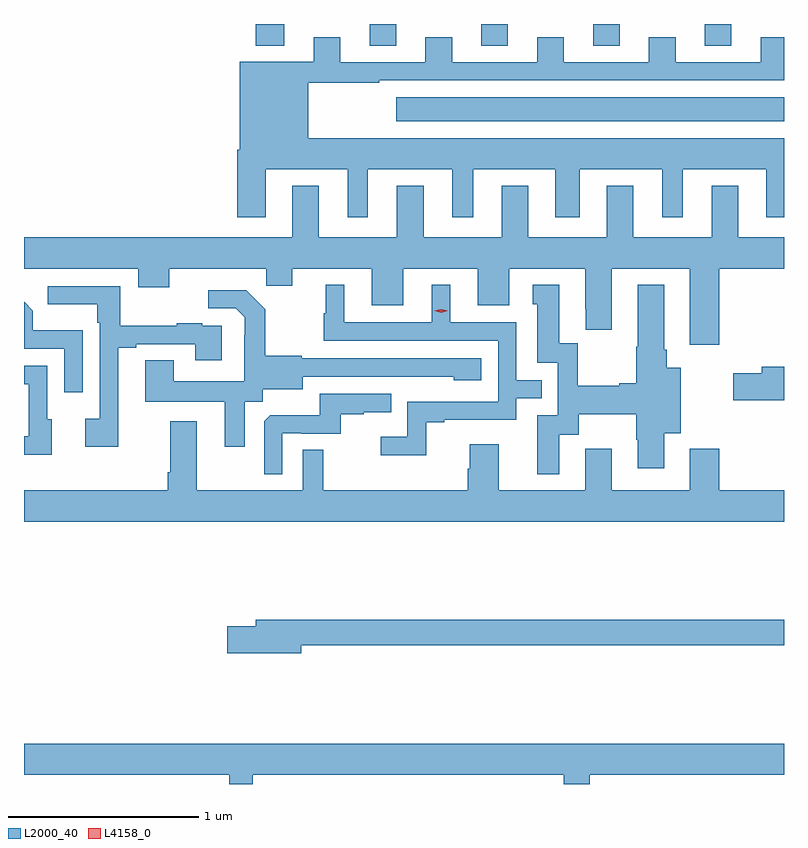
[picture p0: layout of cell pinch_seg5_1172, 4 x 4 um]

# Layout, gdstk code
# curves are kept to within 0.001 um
import gdstk
lib = gdstk.Library(unit=1e-6, precision=1e-09)
def R(c, l, rs):  # rectangles x0, y0, x1, y1
    for r in rs: c.add(gdstk.rectangle(r[:2], r[2:], *l))
def A(c, l, x, y, w, h, nx, ny, dx, dy):  # array of equal rectangles
    R(c, l, [(x+i*dx, y+j*dy, x+i*dx+w, y+j*dy+h) for i in range(nx) for j in range(ny)])
def P(c, l, *ps):  # polygons
    for p in ps: c.add(gdstk.Polygon(p, *l))
L2000_40 = (2000, 40)
L4158_0 = (4158, 0)

pinch_seg5_1172 = lib.new_cell('pinch_seg5_1172')
A(pinch_seg5_1172, L2000_40, 544.595, 877.912, 0.14, 0.115, 4, 1, 0.588, 0)
R(pinch_seg5_1172, L2000_40, [(544.734,877.514,546.776,877.642), (543.995,877.913,544.147,878.027)])
P(pinch_seg5_1172, L2000_40, [(544.048,877.262),(544.481,877.262),(544.481,877.011),(544.585,877.011),(544.585,877.262),(545.03,877.262),(545.03,877.011),(545.14,877.011),(545.14,877.262),(545.573,877.262),(545.573,877.011),(545.701,877.011),(545.701,877.262),(546.134,877.262),(546.134,877.011),(546.244,877.011),(546.244,877.262),(546.683,877.262),(546.683,877.011),(546.776,877.011),(546.776,877.426),(544.273,877.426),(544.273,877.719),(544.646,877.719),(544.646,877.731),(546.776,877.731),(546.776,877.957),(546.653,877.957),(546.653,877.827),(546.205,877.827),(546.205,877.957),(546.065,877.957),(546.065,877.827),(545.617,877.827),(545.617,877.957),(545.477,877.957),(545.477,877.827),(545.029,877.827),(545.029,877.957),(544.889,877.957),(544.889,877.827),(544.441,877.827),(544.441,877.957),(544.301,877.957),(544.301,877.828),(543.911,877.828),(543.911,877.366),(543.899,877.366),(543.899,877.011),(544.048,877.011)],
  [(546.434,876.74),(546.776,876.74),(546.776,876.904),(546.535,876.904),(546.535,877.177),(546.395,877.177),(546.395,876.904),(545.983,876.904),(545.983,877.177),(545.843,877.177),(545.843,876.904),(545.431,876.904),(545.431,877.177),(545.291,877.177),(545.291,876.904),(544.879,876.904),(544.879,877.177),(544.739,877.177),(544.739,876.904),(544.327,876.904),(544.327,877.177),(544.187,877.177),(544.187,876.904),(542.776,876.904),(542.776,876.74),(543.377,876.74),(543.377,876.641),(543.541,876.641),(543.541,876.74),(544.051,876.74),(544.051,876.65),(544.189,876.65),(544.189,876.74),(544.607,876.74),(544.607,876.546),(544.771,876.546),(544.771,876.74),(545.165,876.74),(545.165,876.546),(545.329,876.546),(545.329,876.74),(545.729,876.74),(545.729,876.529),(545.732,876.529),(545.732,876.417),(545.869,876.417),(545.869,876.74),(546.281,876.74),(546.281,876.339),(546.434,876.339)],
  [(545.593,875.866),(545.695,875.866),(545.695,875.972),(545.998,875.972),(545.998,875.838),(546.005,875.838),(546.005,875.688),(546.145,875.688),(546.145,875.873),(546.232,875.873),(546.232,876.217),(546.158,876.217),(546.158,876.313),(546.145,876.313),(546.145,876.655),(546.005,876.655),(546.005,876.329),(545.998,876.329),(545.998,876.137),(545.909,876.137),(545.909,876.124),(545.691,876.124),(545.691,876.347),(545.593,876.347),(545.593,876.655),(545.453,876.655),(545.453,876.552),(545.477,876.552),(545.477,876.243),(545.586,876.243),(545.586,875.967),(545.477,875.967),(545.477,875.658),(545.593,875.658)],
  [(544.893,875.931),(544.987,875.931),(544.987,875.943),(545.367,875.943),(545.367,876.057),(545.501,876.057),(545.501,876.153),(545.367,876.153),(545.367,876.456),(545.02,876.456),(545.02,876.655),(544.922,876.655),(544.922,876.456),(544.462,876.456),(544.462,876.655),(544.364,876.655),(544.364,876.504),(544.353,876.504),(544.353,876.36),(545.271,876.36),(545.271,876.039),(544.794,876.039),(544.794,875.854),(544.653,875.854),(544.653,875.756),(544.893,875.756)],
  [(543.271,876.324),(543.367,876.324),(543.367,876.342),(543.677,876.342),(543.677,876.258),(543.817,876.258),(543.817,876.438),(543.713,876.438),(543.713,876.451),(543.581,876.451),(543.581,876.44),(543.283,876.44),(543.283,876.648),(542.901,876.648),(542.901,876.551),(543.162,876.551),(543.162,876.455),(543.174,876.455),(543.174,875.95),(543.099,875.95),(543.099,875.802),(543.271,875.802)],
  [(543.937,876.04),(544.032,876.04),(544.032,876.104),(544.243,876.104),(544.243,876.171),(545.037,876.17),(545.037,876.152),(545.182,876.152),(545.182,876.267),(544.239,876.267),(544.239,876.28),(544.047,876.28),(544.047,876.525),(543.947,876.625),(543.747,876.625),(543.747,876.531),(543.891,876.531),(543.938,876.484),(543.938,876.389),(543.936,876.389),(543.936,876.148),(543.565,876.148),(543.565,876.257),(543.413,876.257),(543.413,876.038),(543.833,876.038),(543.833,875.802),(543.937,875.802)],
  [(543.084,876.415),(542.823,876.415),(542.823,876.518),(542.776,876.565),(542.776,876.318),(542.988,876.318),(542.988,876.09),(543.084,876.09)],
  [(542.923,875.946),(542.898,875.946),(542.898,876.228),(542.776,876.228),(542.776,876.132),(542.802,876.132),(542.802,875.856),(542.776,875.856),(542.776,875.759),(542.923,875.759)],
  [(546.776,876.224),(546.659,876.224),(546.659,876.188),(546.51,876.188),(546.51,876.046),(546.776,876.046)],
  [(544.134,875.874),(544.234,875.874),(544.234,875.871),(544.442,875.871),(544.442,875.973),(544.565,875.973),(544.565,875.984),(544.709,875.984),(544.709,876.081),(544.332,876.081),(544.332,875.969),(544.073,875.969),(544.041,875.937),(544.041,875.657),(544.134,875.657)],
  [(546.776,875.572),(546.434,875.572),(546.434,875.791),(546.281,875.791),(546.281,875.572),(545.869,875.572),(545.869,875.791),(545.729,875.791),(545.729,875.572),(545.275,875.572),(545.275,875.815),(545.123,875.815),(545.123,875.685),(545.111,875.685),(545.111,875.572),(544.351,875.572),(544.351,875.786),(544.242,875.786),(544.242,875.572),(543.685,875.572),(543.685,875.935),(543.545,875.935),(543.545,875.668),(543.533,875.668),(543.533,875.572),(542.776,875.572),(542.776,875.408),(546.776,875.408)],
  [(544.234,874.756),(546.776,874.756),(546.776,874.892),(543.995,874.892),(543.995,874.856),(543.846,874.856),(543.846,874.714),(544.234,874.714)],
  [(543.979,874.076),(545.617,874.076),(545.617,874.027),(545.753,874.027),(545.753,874.076),(546.776,874.076),(546.776,874.24),(542.776,874.24),(542.776,874.076),(543.857,874.076),(543.857,874.027),(543.979,874.027)])
P(pinch_seg5_1172, L4158_0, [(544.971,876.507),(544.935,876.517),(544.935,876.517),(544.935,876.518),(544.971,876.527),(545.007,876.518),(545.007,876.517),(545.007,876.517)])

lib.write_gds('pinch_seg5_1172.gds')
